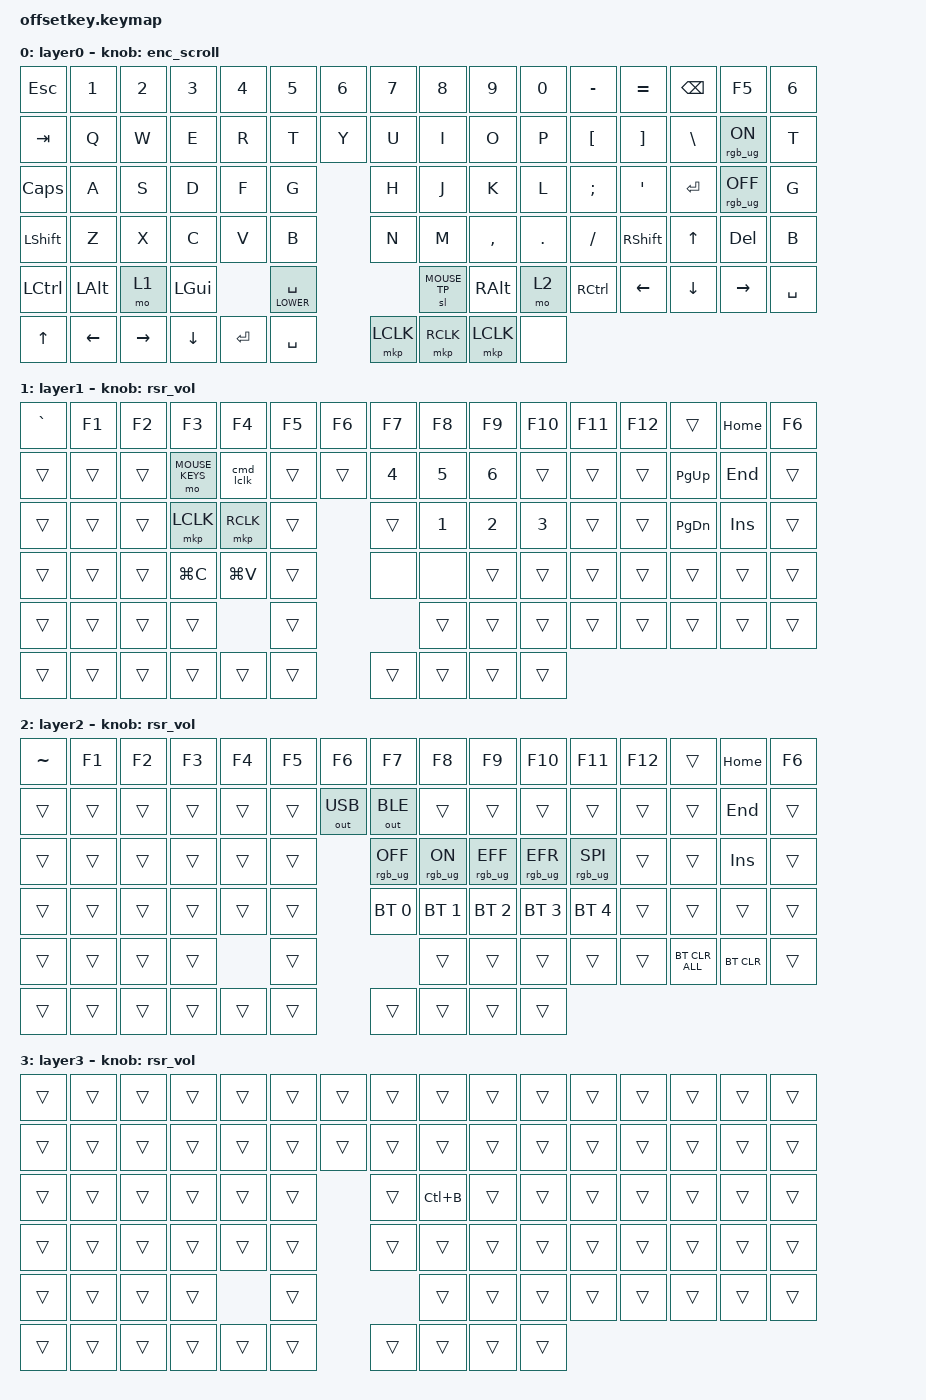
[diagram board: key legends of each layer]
#define BASE 0
#define LOWER 1
#define MOUSE_KEYS 2
#define MOUSE_TP 3
#define MOUSE_TP_SET 4

#include <zephyr/dt-bindings/input/input-event-codes.h>
#include <behaviors/toggle_io.dtsi>
#include <behaviors/on_io.dtsi>
#include <behaviors/off_io.dtsi>
#include <dt-bindings/zmk/rgb.h>
#include <dt-bindings/zmk/outputs.h>
#include <input/processors.dtsi>
#include <behaviors.dtsi>
#include <dt-bindings/zmk/bt.h>
#include <dt-bindings/zmk/keys.h>
#include <dt-bindings/zmk/pointing.h>
#include <behaviors/runtime-sensor-rotate.dtsi>

&mmv_input_listener { input-processors = <&zip_xy_scaler 2 1>; };

&msc_input_listener { input-processors = <&zip_scroll_scaler 2 1>; };

&msc {
    acceleration-exponent = <0>;      // 0
    time-to-max-speed-ms = <0>;       // 300
    delay-ms = <0>;                   // 0
    trigger-period-ms = <8>;
};

&mmv {
    time-to-max-speed-ms = <500>;
    acceleration-exponent = <1>;
    trigger-period-ms = <16>;
};


/ {
    behaviors {
        rsr_vol: rsr_vol {
            compatible = "zmk,behavior-runtime-sensor-rotate";
            #sensor-binding-cells = <0>;
            tap-ms = <5>;
            cw-binding = <&kp C_VOL_UP>;
            ccw-binding = <&kp C_VOL_DN>;
        };

        mwheel: mwheel {
            compatible = "offsetkey,behavior-mouse-wheel-tick";
            #binding-cells = <2>;
            acceleration-threshold-ms = <80>;
            acceleration-max = <4>;
        };

        enc_scroll: enc_scroll {
            compatible = "zmk,behavior-sensor-rotate";
            #sensor-binding-cells = <0>;
            tap-ms = <5>;
            bindings = <&mwheel 0 2>, <&mwheel 0 (-2)>;
        };

        ltq: ltq {
            compatible = "zmk,behavior-hold-tap";
            label = "LTQ";
            bindings = <&mo>, <&kp>;

            #binding-cells = <2>;
            flavor = "tap-preferred";
            tapping-term-ms = <200>;
            quick-tap-ms = <180>;
            require-prior-idle-ms = <125>;
        };
    };

    macros {
        cmd_lclk: cmd_lclk {
            compatible = "zmk,behavior-macro";
            #binding-cells = <0>;
            wait-ms = <0>;
            tap-ms = <20>;
            bindings =
                <&macro_press &kp LEFT_GUI>,
                <&macro_tap &mkp LCLK>,
                <&macro_release &kp LEFT_GUI>;
        };
    };

    combos {
        compatible = "zmk,combos";

        flash {
            bindings = <&bootloader>;
            key-positions = <0 11>;
        };
    };

    keymap {
        compatible = "zmk,keymap";

        BASE {
            bindings = <
 &kp ESC       &kp N1          &kp N2           &kp N3          &kp N4     &kp N5     &kp N6      &kp N7     &kp N8     &kp N9         &kp N0   &kp MINUS  &kp EQUAL  &kp BSPC      &kp F5                           &kp NUMBER_6
 &kp TAB       &kp Q           &kp W            &kp E           &kp R      &kp T                  &kp Y      &kp U      &kp I          &kp O    &kp P      &kp LBKT   &kp RBKT      &kp BSLH         &rgb_ug RGB_ON  &kp T
 &kp CAPS      &kp A           &kp S            &kp D           &kp F      &kp G                  &kp H      &kp J      &kp K          &kp L    &kp SEMI   &kp APOS   &kp ENTER     &rgb_ug RGB_OFF                  &kp G
 &kp LSHFT     &kp Z           &kp X            &kp C           &kp V      &kp B                  &kp N      &kp M      &kp COMMA      &kp DOT  &kp FSLH   &kp RSHFT  &kp UP_ARROW  &kp DELETE                       &kp B
 &kp LCTRL     &kp LEFT_ALT     &mo 1           &kp LEFT_GUI               &ltq LOWER SPACE                 &sl MOUSE_TP  &kp RIGHT_ALT  &mo 2    &kp RCTRL  &kp LEFT   &kp DOWN      &kp RIGHT                        &kp SPACE
 &kp UP_ARROW  &kp LEFT_ARROW  &kp RIGHT_ARROW  &kp DOWN_ARROW  &kp ENTER  &kp SPACE              &mkp LCLK  &mkp RCLK  &mkp LCLK      &none
            >;

            label = "layer0";
            sensor-bindings = <&enc_scroll>;
        };

        layer_1 {
            bindings = <
 &kp GRAVE  &kp F1  &kp F2  &kp F3  &kp F4  &kp F5  &kp F6      &kp F7  &kp F8        &kp F9        &kp F10       &kp F11  &kp F12  &trans     &kp HOME             &kp F6
 &trans     &trans  &trans  &mo MOUSE_KEYS  &cmd_lclk  &trans    &trans  &kp NUMBER_4  &kp NUMBER_5  &kp NUMBER_6  &trans   &trans   &trans     &kp PG_UP   &kp END  &trans
 &trans     &trans  &trans  &mkp LCLK       &mkp RCLK  &trans     &trans  &kp NUMBER_1  &kp NUMBER_2  &kp NUMBER_3  &trans   &trans   &kp PG_DN  &kp INSERT           &trans
 &trans     &trans  &trans  &kp LG(C)  &kp LG(V)  &trans         &none   &none         &trans        &trans        &trans   &trans   &trans     &trans               &trans
 &trans     &trans  &trans  &trans          &trans                      &trans        &trans        &trans        &trans   &trans   &trans     &trans               &trans
 &trans     &trans  &trans  &trans  &trans  &trans              &trans  &trans        &trans        &trans
            >;

            label = "layer1";
            sensor-bindings = <&rsr_vol>;
        };

        layer_2 {
            bindings = <
 &kp TILDE  &kp F1  &kp F2  &kp F3  &kp F4  &kp F5  &kp F6      &kp F7           &kp F8          &kp F9           &kp F10          &kp F11          &kp F12  &trans          &kp HOME             &kp F6
 &trans     &trans  &trans  &trans  &trans  &trans              &out OUT_USB     &out OUT_BLE    &trans           &trans           &trans           &trans   &trans          &trans      &kp END  &trans
 &trans     &trans  &trans  &trans  &trans  &trans              &rgb_ug RGB_OFF  &rgb_ug RGB_ON  &rgb_ug RGB_EFF  &rgb_ug RGB_EFR  &rgb_ug RGB_SPI  &trans   &trans          &kp INSERT           &trans
 &trans     &trans  &trans  &trans  &trans  &trans              &bt BT_SEL 0     &bt BT_SEL 1    &bt BT_SEL 2     &bt BT_SEL 3     &bt BT_SEL 4     &trans   &trans          &trans               &trans
 &trans     &trans  &trans  &trans          &trans                               &trans          &trans           &trans           &trans           &trans   &bt BT_CLR_ALL  &bt BT_CLR           &trans
 &trans     &trans  &trans  &trans  &trans  &trans              &trans           &trans          &trans           &trans
            >;

            label = "layer2";
            sensor-bindings = <&rsr_vol>;
        };

        layer_3 {
            bindings = <
 &trans  &trans  &trans  &trans  &trans  &trans  &trans      &trans  &trans  &trans  &trans  &trans  &trans  &trans  &trans          &trans
 &trans  &trans  &trans  &trans  &trans  &trans              &trans  &trans     &trans  &trans  &trans  &trans  &trans  &trans  &trans  &trans
 &trans  &trans  &trans  &trans  &trans  &trans              &trans  &kp LC(B)  &trans  &trans  &trans  &trans  &trans  &trans          &trans
 &trans  &trans  &trans  &trans  &trans  &trans              &trans  &trans  &trans  &trans  &trans  &trans  &trans  &trans          &trans
 &trans  &trans  &trans  &trans          &trans                      &trans  &trans  &trans  &trans  &trans  &trans  &trans          &trans
 &trans  &trans  &trans  &trans  &trans  &trans              &trans  &trans  &trans  &trans
            >;

            label = "layer3";
            sensor-bindings = <&rsr_vol>;
        };
    };
};
